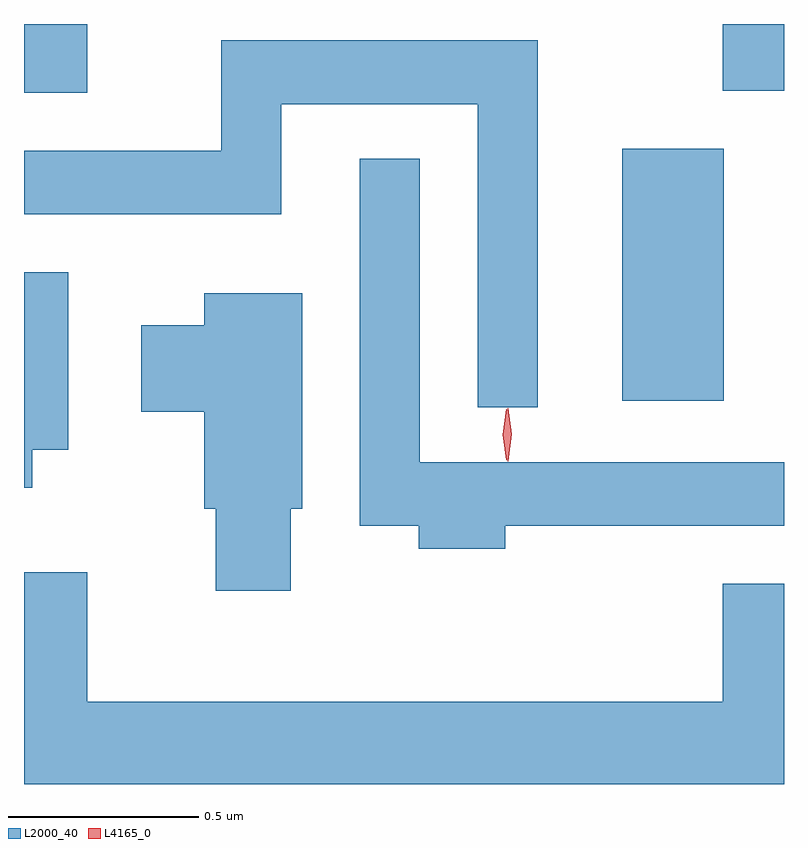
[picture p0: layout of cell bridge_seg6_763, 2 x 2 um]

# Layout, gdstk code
import gdstk
lib = gdstk.Library(unit=1e-6, precision=1e-09)
def R(c, l, rs):  # rectangles x0, y0, x1, y1
    for r in rs: c.add(gdstk.rectangle(r[:2], r[2:], *l))
def P(c, l, *ps):  # polygons
    for p in ps: c.add(gdstk.Polygon(p, *l))
L2000_40 = (2000, 40)
L4165_0 = (4165, 0)

bridge_seg6_763 = lib.new_cell('bridge_seg6_763')
R(bridge_seg6_763, L2000_40, [(585.626,1535.556,585.894,1536.219), (584.052,1536.366,584.219,1536.547), (585.891,1536.371,586.052,1536.547)])
P(bridge_seg6_763, L2000_40, [(585.404,1536.504),(584.571,1536.504),(584.571,1536.214),(584.052,1536.214),(584.052,1536.046),(584.729,1536.046),(584.729,1536.336),(585.246,1536.336),(585.246,1535.538),(585.404,1535.538)],
  [(585.319,1535.226),(586.052,1535.226),(586.052,1535.394),(585.094,1535.394),(585.094,1536.193),(584.936,1536.193),(584.936,1535.226),(585.091,1535.226),(585.091,1535.166),(585.319,1535.166)],
  [(584.074,1535.426),(584.169,1535.426),(584.169,1535.894),(584.052,1535.894),(584.052,1535.326),(584.074,1535.326)],
  [(584.754,1535.271),(584.784,1535.271),(584.784,1535.839),(584.526,1535.839),(584.526,1535.754),(584.361,1535.754),(584.361,1535.526),(584.526,1535.526),(584.526,1535.271),(584.556,1535.271),(584.556,1535.056),(584.754,1535.056)],
  [(586.052,1535.074),(585.891,1535.074),(585.891,1534.764),(584.219,1534.764),(584.219,1535.104),(584.052,1535.104),(584.052,1534.547),(586.052,1534.547)])
P(bridge_seg6_763, L4165_0, [(585.322,1535.399),(585.321,1535.4),(585.312,1535.466),(585.321,1535.533),(585.322,1535.533),(585.322,1535.533),(585.332,1535.466),(585.322,1535.4)],
  [(585.325,1535.397),(585.316,1535.467),(585.325,1535.536),(585.326,1535.536),(585.326,1535.536),(585.336,1535.467),(585.326,1535.397),(585.326,1535.397)])

lib.write_gds('bridge_seg6_763.gds')
